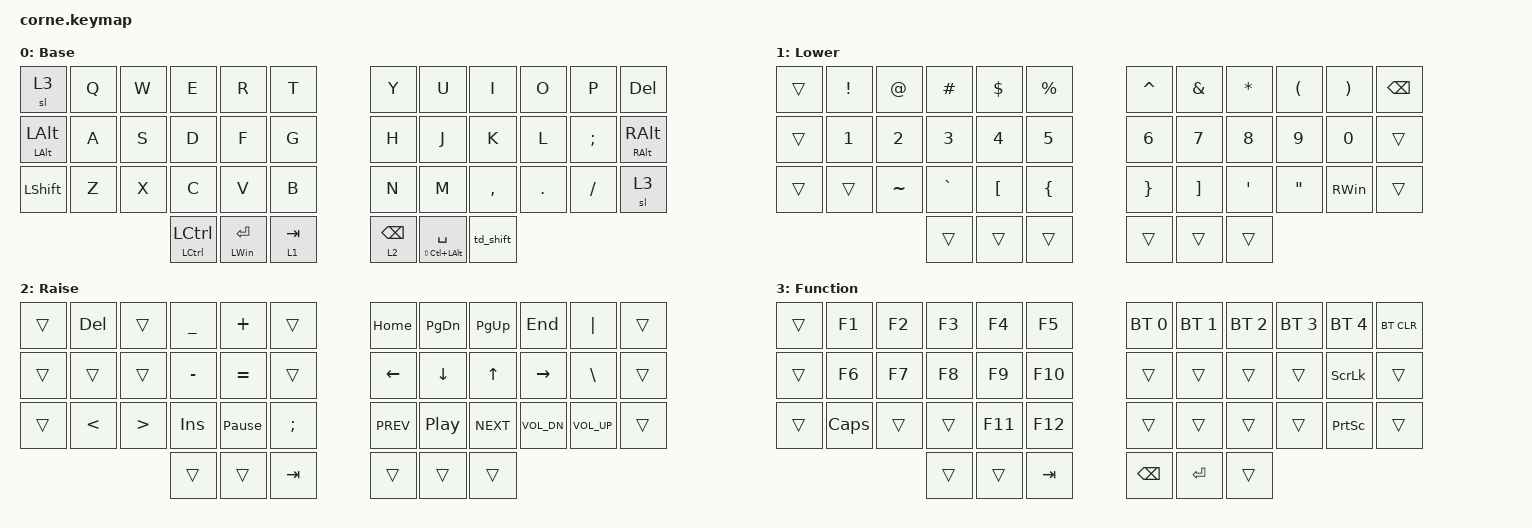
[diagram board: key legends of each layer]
/*
 * Copyright (c) 2020 The ZMK Contributors
 *
 * SPDX-License-Identifier: MIT
 */

#include <behaviors.dtsi>
#include <dt-bindings/zmk/bt.h>
#include <dt-bindings/zmk/keys.h>
#include <dt-bindings/zmk/keys.h>

#define MEH LS(LC(LALT))

&mt {
    flavor = "balanced";
    quick-tap-ms = <200>;
};

&lt {
    flavor = "balanced";
    quick-tap-ms = <200>;
};

&sk {
    quick-release;
};

/ {
    behaviors {
        td_shift: td_shift {
            compatible = "zmk,behavior-tap-dance";
            label = "Shift Sticky";
            #binding-cells = <0>;
            bindings = <
                &sk RSHFT
                &kp CAPS
            >;
            tapping-term-ms = <200>;
        };

        hs: hs {
            compatible = "zmk,behavior-hold-tap";
            label = "Hold-Tap Sticky";
            #binding-cells = <2>;
            tapping-term-ms = <200>;
            flavor = "balanced";
            bindings = <&kp>, <&sk>;
        };
    };

    combos { 
        compatible = "zmk,combos";
        combo_esc_l {
            timeout-ms = <50>;
            key-positions = <15 16>;
            bindings = <&kp ESC>;
        };
        combo_esc_r {
            timeout-ms = <50>;
            key-positions = <19 20>;
            bindings = <&kp ESC>;
        };
    };

    keymap {
        compatible = "zmk,keymap";

        default_layer {
            display-name = "Base";
            bindings = <
// ╭───────────────┬───────────────┬───────────────┬───────────────┬───────────────┬───────────────╮   ╭───────────────┬───────────────┬───────────────┬───────────────┬───────────────┬───────────────╮
    &sl 3           &kp Q           &kp W           &kp E           &kp R           &kp T               &kp Y           &kp U           &kp I           &kp O           &kp P           &kp DEL
// ├───────────────├───────────────┼───────────────┼───────────────┼───────────────┼───────────────┤   ├───────────────├───────────────┼───────────────┼───────────────┼───────────────┼───────────────┤
    &hs LALT LALT   &kp A           &kp S           &kp D           &kp F           &kp G               &kp H           &kp J           &kp K           &kp L           &kp SEMI        &hs RALT RALT
// ├───────────────├───────────────┼───────────────┼───────────────┼───────────────┼───────────────┤   ├───────────────├───────────────┼───────────────┼───────────────┼───────────────┼───────────────┤
    &kp LSHFT       &kp Z           &kp X           &kp C           &kp V           &kp B               &kp N           &kp M           &kp COMMA       &kp DOT         &kp FSLH        &sl 3
// ╰───────────────┴───────────────┴───────────────┼───────────────┼───────────────┼───────────────┤   ├───────────────├───────────────┼───────────────┼───────────────┴───────────────┴───────────────╯
                                                    &hs LCTRL LCTRL &mt LWIN ENTER  &lt 1 TAB           &lt 2 BKSP      &mt MEH SPACE   &td_shift
//                                                 ╰───────────────┴───────────────┴───────────────╯   ╰───────────────┴───────────────┴───────────────╯
            >;
        };

        lower_layer {
            display-name = "Lower";
            bindings = <
// ╭───────────────┬───────────────┬───────────────┬───────────────┬───────────────┬───────────────╮   ╭───────────────┬───────────────┬───────────────┬───────────────┬───────────────┬───────────────╮
    &trans          &kp EXCL        &kp AT          &kp HASH        &kp DLLR        &kp PRCNT           &kp CARET       &kp AMPS        &kp STAR        &kp LPAR        &kp RPAR        &kp BKSP
// ├───────────────├───────────────┼───────────────┼───────────────┼───────────────┼───────────────┤   ├───────────────├───────────────┼───────────────┼───────────────┼───────────────┼───────────────┤
    &trans          &kp N1          &kp N2          &kp N3          &kp N4          &kp N5              &kp N6          &kp N7          &kp N8          &kp N9          &kp N0          &trans
// ├───────────────├───────────────┼───────────────┼───────────────┼───────────────┼───────────────┤   ├───────────────├───────────────┼───────────────┼───────────────┼───────────────┼───────────────┤
    &trans          &trans          &kp TILDE       &kp GRAVE       &kp LBKT        &kp LBRC            &kp RBRC        &kp RBKT        &kp SQT         &kp DQT         &kp RWIN        &trans
// ╰───────────────┴───────────────┴───────────────┼───────────────┼───────────────┼───────────────┤   ├───────────────├───────────────┼───────────────┼───────────────┴───────────────┴───────────────╯
                                                    &trans          &trans          &trans              &trans          &trans          &trans
//                                                 ╰───────────────┴───────────────┴───────────────╯   ╰───────────────┴───────────────┴───────────────╯
            >;
        };

        raise_layer {
            display-name = "Raise";
            bindings = <
// ╭───────────────┬───────────────┬───────────────┬───────────────┬───────────────┬───────────────╮   ╭───────────────┬───────────────┬───────────────┬───────────────┬───────────────┬───────────────╮
    &trans          &kp DEL         &trans          &kp UNDER       &kp PLUS        &trans              &kp HOME        &kp PG_DN       &kp PG_UP       &kp END         &kp PIPE        &trans
// ├───────────────├───────────────┼───────────────┼───────────────┼───────────────┼───────────────┤   ├───────────────├───────────────┼───────────────┼───────────────┼───────────────┼───────────────┤
    &trans          &trans          &trans          &kp MINUS       &kp EQUAL       &trans              &kp LEFT        &kp DOWN        &kp UP          &kp RIGHT       &kp BSLH        &trans
// ├───────────────├───────────────┼───────────────┼───────────────┼───────────────┼───────────────┤   ├───────────────├───────────────┼───────────────┼───────────────┼───────────────┼───────────────┤
    &trans          &kp LT          &kp GT          &kp INS         &kp PAUSE_BREAK &kp SEMI            &kp C_PREV      &kp C_PP        &kp C_NEXT      &kp C_VOL_DN    &kp C_VOL_UP    &trans
// ╰───────────────┴───────────────┴───────────────┼───────────────┼───────────────┼───────────────┤   ├───────────────├───────────────┼───────────────┼───────────────┴───────────────┴───────────────╯
                                                    &trans          &trans          &kp TAB              &trans          &trans          &trans
//                                                 ╰───────────────┴───────────────┴───────────────╯   ╰───────────────┴───────────────┴───────────────╯
            >;
        };

        function_layer {
            display-name = "Function";
            bindings = <
// ╭───────────────┬───────────────┬───────────────┬───────────────┬───────────────┬───────────────╮   ╭───────────────┬───────────────┬───────────────┬───────────────┬───────────────┬───────────────╮
    &trans          &kp F1          &kp F2          &kp F3          &kp F4          &kp F5              &bt BT_SEL 0    &bt BT_SEL 1    &bt BT_SEL 2    &bt BT_SEL 3    &bt BT_SEL 4    &bt BT_CLR
// ├───────────────├───────────────┼───────────────┼───────────────┼───────────────┼───────────────┤   ├───────────────├───────────────┼───────────────┼───────────────┼───────────────┼───────────────┤
    &trans          &kp F6          &kp F7          &kp F8          &kp F9          &kp F10             &trans          &trans          &trans          &trans          &kp SLCK        &trans
// ├───────────────├───────────────┼───────────────┼───────────────┼───────────────┼───────────────┤   ├───────────────├───────────────┼───────────────┼───────────────┼───────────────┼───────────────┤
    &trans          &kp CAPS        &trans          &trans          &kp F11         &kp F12             &trans          &trans          &trans          &trans          &kp PSCRN       &trans
// ╰───────────────┴───────────────┴───────────────┼───────────────┼───────────────┼───────────────┤   ├───────────────├───────────────┼───────────────┼───────────────┴───────────────┴───────────────╯
                                                    &trans          &trans          &kp TAB             &kp BKSP        &kp ENTER       &trans
//                                                 ╰───────────────┴───────────────┴───────────────╯   ╰───────────────┴───────────────┴───────────────╯
            >;
        };
        
    };
};
